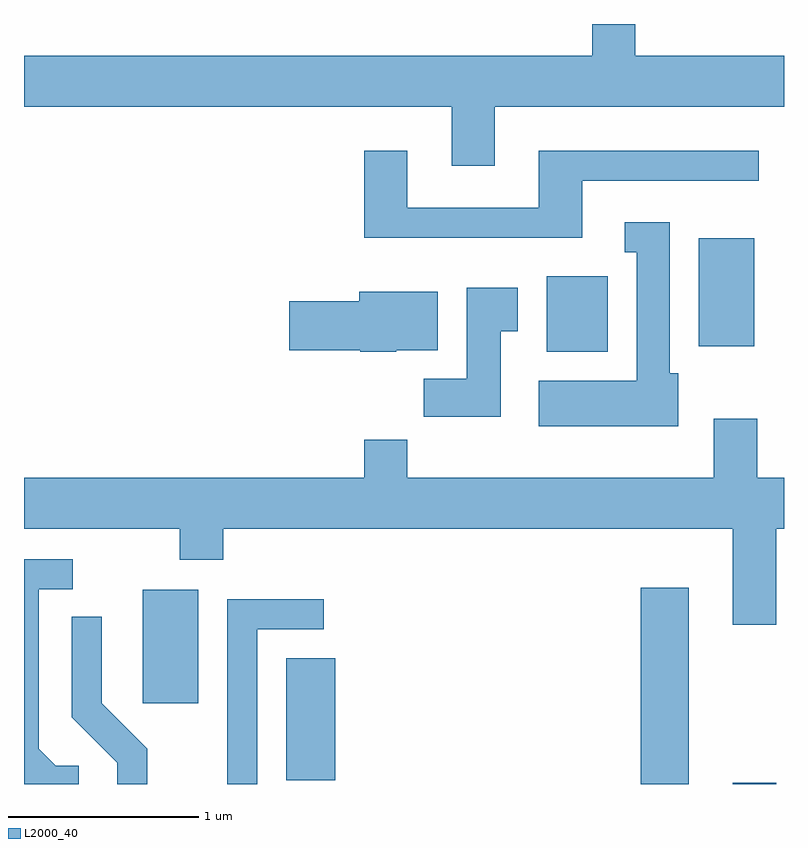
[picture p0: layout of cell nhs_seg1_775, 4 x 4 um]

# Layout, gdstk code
import gdstk
lib = gdstk.Library(unit=1e-6, precision=1e-09)
def R(c, l, rs):  # rectangles x0, y0, x1, y1
    for r in rs: c.add(gdstk.rectangle(r[:2], r[2:], *l))
def P(c, l, *ps):  # polygons
    for p in ps: c.add(gdstk.Polygon(p, *l))
L2000_40 = (2000, 40)

nhs_seg1_775 = lib.new_cell('nhs_seg1_775')
R(nhs_seg1_775, L2000_40, [(210.856,973.712,211.109,974.744), (211.341,973.712,211.569,973.719), (208.991,973.731,209.249,974.374), (208.236,974.136,208.529,974.734), (210.361,975.986,210.684,976.384), (211.161,976.016,211.454,976.584)])
P(nhs_seg1_775, L2000_40, [(210.089,977.276),(211.611,977.276),(211.611,977.544),(210.829,977.544),(210.829,977.712),(210.601,977.712),(210.601,977.544),(207.611,977.544),(207.611,977.276),(209.861,977.276),(209.861,976.966),(210.089,976.966)],
  [(210.549,976.886),(211.478,976.886),(211.478,977.044),(210.321,977.044),(210.321,976.744),(209.629,976.744),(209.629,977.044),(209.401,977.044),(209.401,976.586),(210.549,976.586)],
  [(211.054,975.874),(211.009,975.874),(211.009,976.669),(210.773,976.669),(210.773,976.511),(210.836,976.511),(210.836,975.834),(210.321,975.834),(210.321,975.596),(211.054,975.596)],
  [(210.119,976.096),(210.209,976.096),(210.209,976.324),(209.941,976.324),(209.941,975.844),(209.716,975.844),(209.716,975.646),(210.119,975.646)],
  [(209.57,975.996),(209.789,975.996),(209.789,976.304),(209.376,976.304),(209.376,976.254),(209.006,976.254),(209.006,975.996),(209.38,975.996),(209.38,975.986),(209.57,975.986)],
  [(211.569,975.056),(211.611,975.056),(211.611,975.324),(211.469,975.324),(211.469,975.634),(211.241,975.634),(211.241,975.324),(209.629,975.324),(209.629,975.524),(209.401,975.524),(209.401,975.324),(207.611,975.324),(207.611,975.056),(208.431,975.056),(208.431,974.891),(208.659,974.891),(208.659,975.056),(211.341,975.056),(211.341,974.551),(211.569,974.551)],
  [(207.898,973.809),(207.777,973.809),(207.689,973.897),(207.689,974.736),(207.868,974.736),(207.868,974.894),(207.611,974.894),(207.611,973.712),(207.898,973.712)],
  [(208.839,974.526),(209.188,974.526),(209.188,974.684),(208.681,974.684),(208.681,973.712),(208.839,973.712)],
  [(208.259,973.897),(208.019,974.137),(208.019,974.593),(207.861,974.593),(207.861,974.064),(208.101,973.824),(208.101,973.712),(208.259,973.712)])

lib.write_gds('nhs_seg1_775.gds')
